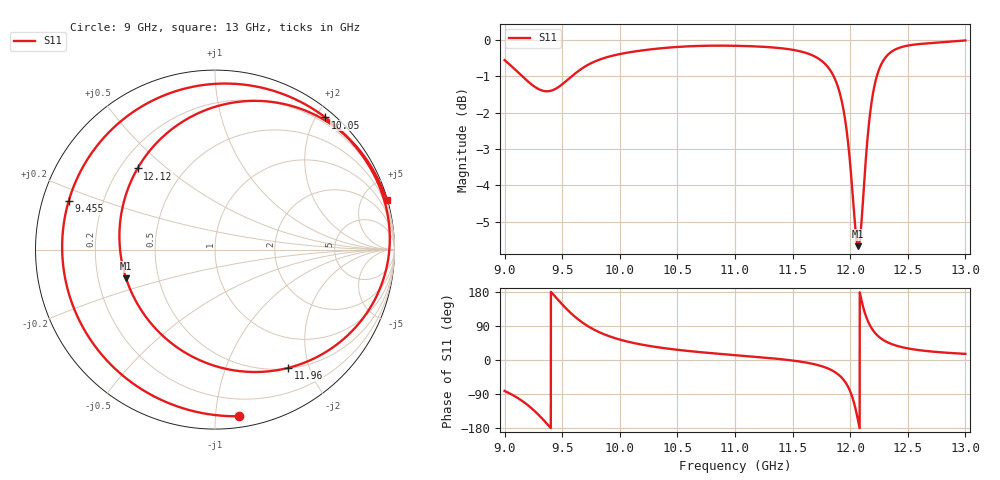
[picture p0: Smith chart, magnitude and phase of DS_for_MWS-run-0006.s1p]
! TOUCHSTONE file generated by CST DESIGN STUDIO
! Date and time: Tue Feb  4 14:34:07 2025
! Project name: C:\Work\MatlabApps\UnitCellOptimizationMatlab\CST\unitcell.cst
! Tree item: Tasks\Sweep1\SPara1\S-Parameters
! Header version: 2024
! Port assignment regex: !\s*Touchstone port\s*([0-9]+)\s*=\s*(CST MWS port|CST DES external port|CST DES block port)\s*(.+)\s* \(\"(.*)\"\)(\s*mode\s*([0-9]+))?.*
! Touchstone port assignment:
! Touchstone port 1 = CST DES external port 1 ("")
# GHz S MA R 50
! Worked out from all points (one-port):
!   4001 points, 9 GHz to 13 GHz, reference 50 ohm
!   lowest |S11| = -5.7 dB at 12.07 GHz (marker M1), VSWR 3.17, Z = 16.1 - j7.04 ohm
!   |S11| at or under -10 dB: nowhere
!   S11 on the Smith chart (normalised r, x): 9 GHz: 0.07, -1.15; 9.455 GHz: 0.08, +0.16; 10.05 GHz: 0.12, +2.13; 11.96 GHz: 0.51, -1.68; 12.12 GHz: 0.27, +0.40; 13 GHz: 0.04, +7.05
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9  0.9381 -81.7
9.13  0.8986 -103.4
9.234  0.8687 -127.4
9.356  0.8503 -164.3
9.455  0.8589 161.7
9.5  0.869 146.6
9.591  0.8936 119.4
9.687  0.917 96.4
9.834  0.941 71.7
10  0.9564 53.8
10.046  0.9595 50.1
10.5  0.9781 26.9
11  0.9818 12.8
11.5  0.9694 -1.4
11.812  0.9154 -23.0
11.895  0.8607 -37.9
11.957  0.7753 -58.2
12  0.6746 -82.8
12.035  0.5747 -115.1
12.07  0.5207 -162.2
12.093  0.5493 164.4
12.118  0.625 133.7
12.146  0.719 108.2
12.177  0.8027 88.3
12.27  0.926 56.3
12.363  0.9645 41.7
12.5  0.9824 30.6
13  0.9984 16.1
